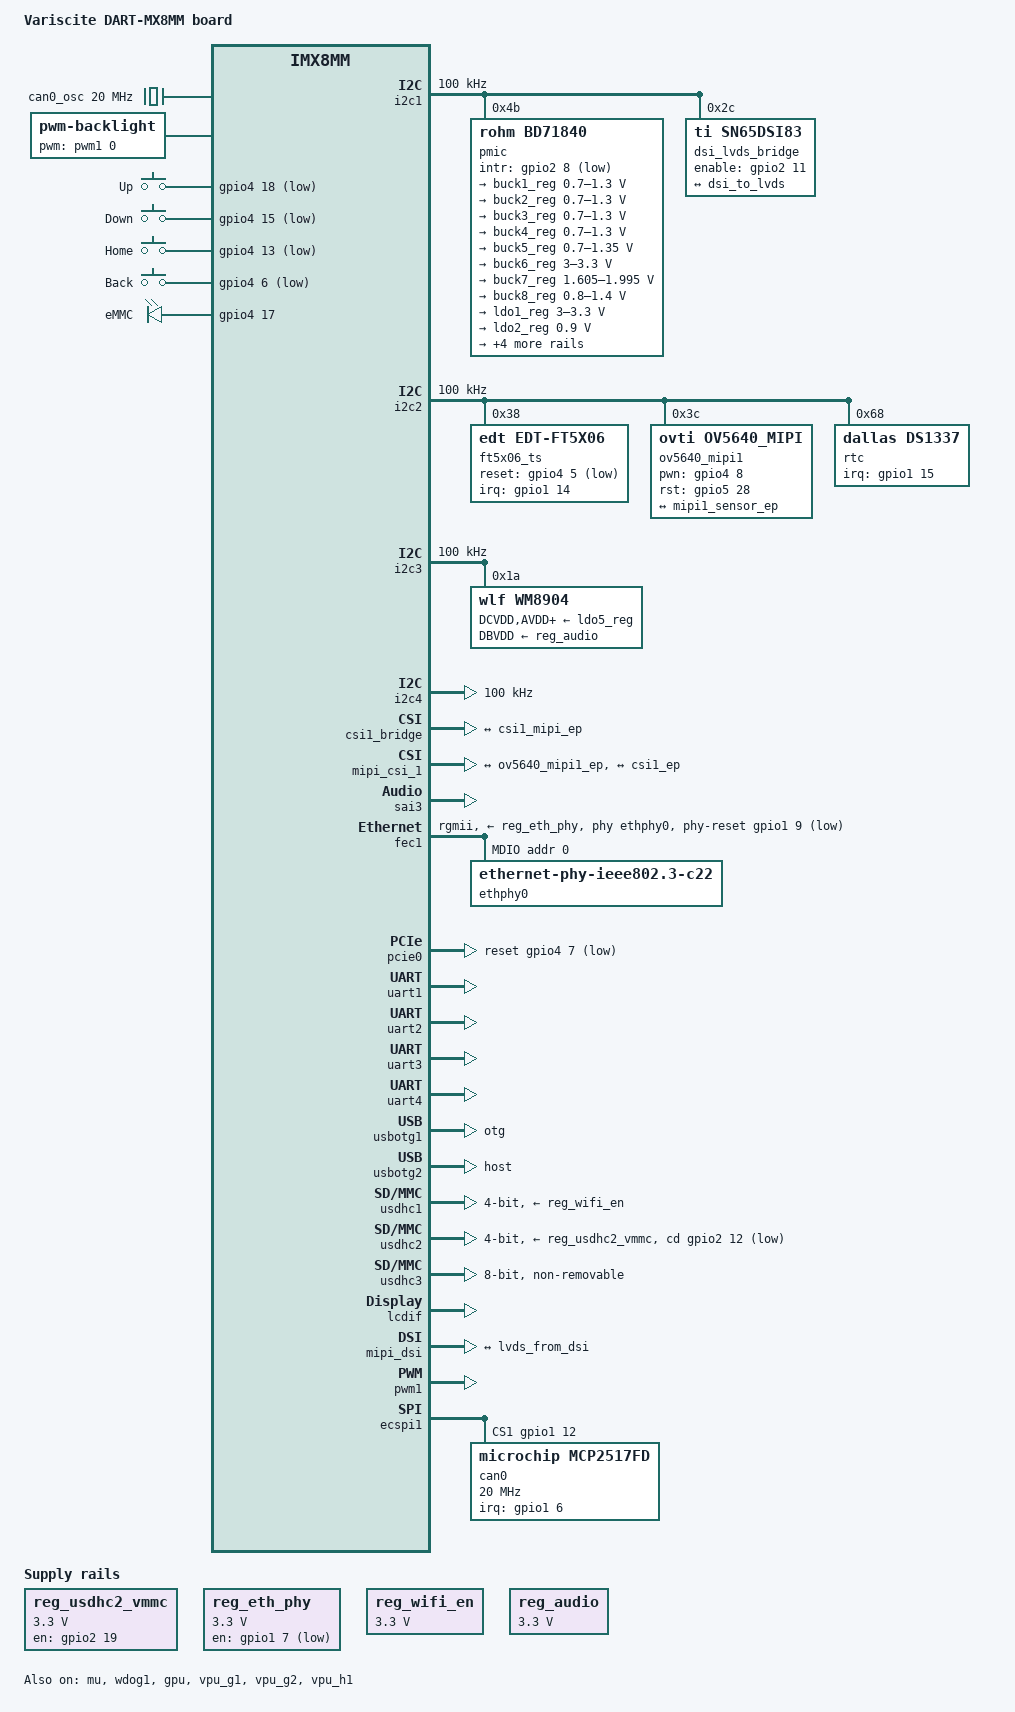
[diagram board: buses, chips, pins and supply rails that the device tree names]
/*
 * Copyright 2018 NXP
 * Copyright 2019 Variscite Ltd.
 *
 * This program is free software; you can redistribute it and/or
 * modify it under the terms of the GNU General Public License
 * as published by the Free Software Foundation; either version 2
 * of the License, or (at your option) any later version.
 *
 * This program is distributed in the hope that it will be useful,
 * but WITHOUT ANY WARRANTY; without even the implied warranty of
 * MERCHANTABILITY or FITNESS FOR A PARTICULAR PURPOSE.  See the
 * GNU General Public License for more details.
 */

/dts-v1/;

#include "fsl-imx8mm.dtsi"

/ {
	model = "Variscite DART-MX8MM board";
	compatible = "variscite,dart-mx8mm", "fsl,imx8mm";

	chosen {
		bootargs = "console=ttymxc0,115200 earlycon=ec_imx6q,0x30860000,115200";
		stdout-path = &uart1;
	};

	regulators {
		compatible = "simple-bus";
		#address-cells = <1>;
		#size-cells = <0>;

		reg_usdhc2_vmmc: regulator-usdhc2 {
			compatible = "regulator-fixed";
			regulator-name = "VSD_3V3";
			regulator-min-microvolt = <3300000>;
			regulator-max-microvolt = <3300000>;
			gpio = <&gpio2 19 GPIO_ACTIVE_HIGH>;
			off-on-delay = <20000>;
			enable-active-high;
		};

		reg_eth_phy: regulator-eth-phy {
			compatible = "regulator-fixed";
			regulator-name = "eth_phy_pwr";
			regulator-min-microvolt = <3300000>;
			regulator-max-microvolt = <3300000>;
			gpio = <&gpio1 7 GPIO_ACTIVE_HIGH>;
		};

		reg_wifi_en: wifi_en {
			compatible = "regulator-fixed";
			regulator-name = "WIFI_REG_ON";
			regulator-min-microvolt = <3300000>;
			regulator-max-microvolt = <3300000>;
		};

		reg_audio: audio_vdd {
			compatible = "regulator-fixed";
			regulator-name = "wm8904_supply";
			regulator-min-microvolt = <3300000>;
			regulator-max-microvolt = <3300000>;
			regulator-always-on;
		};
	};

	can0_osc: can0_osc {
		compatible = "fixed-clock";
		#clock-cells = <0>;
		clock-frequency = <20000000>;
	};

	reserved-memory {
		/* cma region is provided by kernel command line as cma=<size>M */
		/delete-node/ linux,cma;

		/delete-node/ rpmsg@0xb8000000;
		rpmsg_reserved: rpmsg@0x40000000 {
			no-map;
			reg = <0 0x40000000 0 0x400000>;
		};
	};

	sound-spdif {
		compatible = "fsl,imx-audio-spdif";
		model = "imx-spdif";
		spdif-controller = <&spdif1>;
		spdif-out;
		spdif-in;
		status = "disabled";
	};

	sound-micfil {
		compatible = "fsl,imx-audio-micfil";
		model = "imx-audio-micfil";
		cpu-dai = <&micfil>;
		status = "disabled";
	};

	sound-wm8904 {
		compatible = "fsl,imx-audio-wm8904";
		model = "imx-wm8904";
		audio-cpu = <&sai3>;
		audio-codec = <&wm8904>;
		audio-routing =
			"Headphone Jack", "HPOUTL",
			"Headphone Jack", "HPOUTR",
			"IN2L", "Line In Jack",
			"IN2R", "Line In Jack",
			"IN1L", "Mic Jack",
			"Playback", "CPU-Playback",
			"CPU-Capture", "Capture";
		status = "okay";
	};

	backlight: backlight {
		compatible = "pwm-backlight";
		pwms = <&pwm1 0 1000000 0>;
		brightness-levels = < 0  1  2  3  4  5  6  7  8  9
				     10 11 12 13 14 15 16 17 18 19
				     20 21 22 23 24 25 26 27 28 29
				     30 31 32 33 34 35 36 37 38 39
				     40 41 42 43 44 45 46 47 48 49
				     50 51 52 53 54 55 56 57 58 59
				     60 61 62 63 64 65 66 67 68 69
				     70 71 72 73 74 75 76 77 78 79
				     80 81 82 83 84 85 86 87 88 89
				     90 91 92 93 94 95 96 97 98 99
				    100>;
		default-brightness-level = <80>;
		status = "okay";
	};

	gpio-keys {
		compatible = "gpio-keys";
		pinctrl-names = "default";
		pinctrl-0 = <&pinctrl_gpio_keys>;

		up {
			label = "Up";
			gpios = <&gpio4 18 GPIO_ACTIVE_LOW>;
			linux,code = <KEY_UP>;
		};

		down {
			label = "Down";
			gpios = <&gpio4 15 GPIO_ACTIVE_LOW>;
			linux,code = <KEY_DOWN>;
		};

		home {
			label = "Home";
			gpios = <&gpio4 13 GPIO_ACTIVE_LOW>;
			linux,code = <KEY_HOME>;
		};

		back {
			label = "Back";
			gpios = <&gpio4 6 GPIO_ACTIVE_LOW>;
			linux,code = <KEY_BACK>;
		};
	};

	leds {
		compatible = "gpio-leds";
		pinctrl-names = "default";
		pinctrl-0 = <&pinctrl_leds>;

		emmc {
			label = "eMMC";
			gpios = <&gpio4 17 GPIO_ACTIVE_HIGH>;
			linux,default-trigger = "mmc2";
		};
	};

};

&clk {
	assigned-clocks = <&clk IMX8MM_AUDIO_PLL1>;
	assigned-clock-rates = <786432000>;
};

&iomuxc {
	pinctrl-names = "default";

	imx8mm-var-dart {

		pinctrl_csi1: csi1grp {
			fsl,pins = <
				MX8MM_IOMUXC_SAI1_RXD6_GPIO4_IO8		0x19
				MX8MM_IOMUXC_UART4_RXD_GPIO5_IO28		0x19
			>;
		};

		pinctrl_fec1: fec1grp {
			fsl,pins = <
				MX8MM_IOMUXC_ENET_MDC_ENET1_MDC			0x3
				MX8MM_IOMUXC_ENET_MDIO_ENET1_MDIO		0x3
				MX8MM_IOMUXC_ENET_TD3_ENET1_RGMII_TD3		0x1f
				MX8MM_IOMUXC_ENET_TD2_ENET1_RGMII_TD2		0x1f
				MX8MM_IOMUXC_ENET_TD1_ENET1_RGMII_TD1		0x1f
				MX8MM_IOMUXC_ENET_TD0_ENET1_RGMII_TD0		0x1f
				MX8MM_IOMUXC_ENET_RD3_ENET1_RGMII_RD3		0x91
				MX8MM_IOMUXC_ENET_RD2_ENET1_RGMII_RD2		0x91
				MX8MM_IOMUXC_ENET_RD1_ENET1_RGMII_RD1		0x91
				MX8MM_IOMUXC_ENET_RD0_ENET1_RGMII_RD0		0x91
				MX8MM_IOMUXC_ENET_TXC_ENET1_RGMII_TXC		0x1f
				MX8MM_IOMUXC_ENET_RXC_ENET1_RGMII_RXC		0x91
				MX8MM_IOMUXC_ENET_RX_CTL_ENET1_RGMII_RX_CTL	0x91
				MX8MM_IOMUXC_ENET_TX_CTL_ENET1_RGMII_TX_CTL	0x1f
				MX8MM_IOMUXC_GPIO1_IO09_GPIO1_IO9		0x19
				MX8MM_IOMUXC_GPIO1_IO07_GPIO1_IO7		0x41
			>;
		};

		pinctrl_flexspi0: flexspi0grp {
			fsl,pins = <
				MX8MM_IOMUXC_NAND_ALE_QSPI_A_SCLK		0x1c2
				MX8MM_IOMUXC_NAND_CE0_B_QSPI_A_SS0_B		0x82
				MX8MM_IOMUXC_NAND_DATA00_QSPI_A_DATA0		0x82
				MX8MM_IOMUXC_NAND_DATA01_QSPI_A_DATA1		0x82
				MX8MM_IOMUXC_NAND_DATA02_QSPI_A_DATA2		0x82
				MX8MM_IOMUXC_NAND_DATA03_QSPI_A_DATA3		0x82
			>;
		};

		pinctrl_i2c1: i2c1grp {
			fsl,pins = <
				MX8MM_IOMUXC_I2C1_SCL_I2C1_SCL			0x400001c3
				MX8MM_IOMUXC_I2C1_SDA_I2C1_SDA			0x400001c3
			>;
		};

		pinctrl_i2c2: i2c2grp {
			fsl,pins = <
				MX8MM_IOMUXC_I2C2_SCL_I2C2_SCL			0x400001c3
				MX8MM_IOMUXC_I2C2_SDA_I2C2_SDA			0x400001c3
			>;
		};

		pinctrl_i2c3: i2c3grp {
			fsl,pins = <
				MX8MM_IOMUXC_I2C3_SCL_I2C3_SCL			0x400001c3
				MX8MM_IOMUXC_I2C3_SDA_I2C3_SDA			0x400001c3
			>;
		};

		pinctrl_i2c4: i2c4grp {
			fsl,pins = <
				MX8MM_IOMUXC_I2C4_SCL_I2C4_SCL			0x400001c3
				MX8MM_IOMUXC_I2C4_SDA_I2C4_SDA			0x400001c3
			>;
		};

		pinctrl_pcie0: pcie0grp {
			fsl,pins = <
				MX8MM_IOMUXC_SAI1_RXD5_GPIO4_IO7		0x41
			>;
		};

		pinctrl_pmic: pmicirq {
			fsl,pins = <
				MX8MM_IOMUXC_SD1_DATA6_GPIO2_IO8		0x41
			>;
		};

		pinctrl_sai3: sai3grp {
			fsl,pins = <
				MX8MM_IOMUXC_SAI3_RXFS_SAI3_RX_SYNC		0xd6
				MX8MM_IOMUXC_SAI3_RXC_SAI3_RX_BCLK		0xd6
				MX8MM_IOMUXC_SAI3_RXD_SAI3_RX_DATA0		0xd6
				MX8MM_IOMUXC_SAI3_TXFS_SAI3_TX_SYNC		0xd6
				MX8MM_IOMUXC_SAI3_TXC_SAI3_TX_BCLK		0xd6
				MX8MM_IOMUXC_SAI3_TXD_SAI3_TX_DATA0		0xd6
				MX8MM_IOMUXC_SAI3_MCLK_SAI3_MCLK		0xd6
			>;
		};

		pinctrl_pdm: pdmgrp {
			fsl,pins = <
				MX8MM_IOMUXC_SAI5_MCLK_SAI5_MCLK		0xd6
				MX8MM_IOMUXC_SAI5_RXC_PDM_CLK			0xd6
				MX8MM_IOMUXC_SAI5_RXFS_SAI5_RX_SYNC		0xd6
				MX8MM_IOMUXC_SAI5_RXD0_PDM_DATA0		0xd6
				MX8MM_IOMUXC_SAI5_RXD1_PDM_DATA1		0xd6
				MX8MM_IOMUXC_SAI5_RXD2_PDM_DATA2		0xd6
				MX8MM_IOMUXC_SAI5_RXD3_PDM_DATA3		0xd6
			>;
		};

		pinctrl_spdif1: spdif1grp {
			fsl,pins = <
				MX8MM_IOMUXC_SPDIF_TX_SPDIF1_OUT		0xd6
				MX8MM_IOMUXC_SPDIF_RX_SPDIF1_IN			0xd6
			>;
		};

		pinctrl_uart1: uart1grp {
			fsl,pins = <
				MX8MM_IOMUXC_UART1_RXD_UART1_DCE_RX		0x140
				MX8MM_IOMUXC_UART1_TXD_UART1_DCE_TX		0x140
			>;
		};

		pinctrl_uart2: uart2grp {
			fsl,pins = <
				MX8MM_IOMUXC_UART2_RXD_UART2_DCE_RX		0x140
				MX8MM_IOMUXC_UART2_TXD_UART2_DCE_TX		0x140
			>;
		};

		pinctrl_uart3: uart3grp {
			fsl,pins = <
				MX8MM_IOMUXC_UART3_RXD_UART3_DCE_RX		0x140
				MX8MM_IOMUXC_UART3_TXD_UART3_DCE_TX		0x140
			>;
		};

		pinctrl_uart4: uart4grp {
			fsl,pins = <
				MX8MM_IOMUXC_ECSPI2_SCLK_UART4_DCE_RX		0x140
				MX8MM_IOMUXC_ECSPI2_MOSI_UART4_DCE_TX		0x140
				MX8MM_IOMUXC_ECSPI2_SS0_UART4_DCE_RTS_B		0x140
				MX8MM_IOMUXC_ECSPI2_MISO_UART4_DCE_CTS_B	0x140
			>;
		};

		pinctrl_usdhc1: usdhc1grp {
			fsl,pins = <
				MX8MM_IOMUXC_SD1_CLK_USDHC1_CLK			0x190
				MX8MM_IOMUXC_SD1_CMD_USDHC1_CMD			0x1d0
				MX8MM_IOMUXC_SD1_DATA0_USDHC1_DATA0		0x1d0
				MX8MM_IOMUXC_SD1_DATA1_USDHC1_DATA1		0x1d0
				MX8MM_IOMUXC_SD1_DATA2_USDHC1_DATA2		0x1d0
				MX8MM_IOMUXC_SD1_DATA3_USDHC1_DATA3		0x1d0
			>;
		};

		pinctrl_usdhc1_100mhz: usdhc1grp100mhz {
			fsl,pins = <
				MX8MM_IOMUXC_SD1_CLK_USDHC1_CLK			0x194
				MX8MM_IOMUXC_SD1_CMD_USDHC1_CMD			0x1d4
				MX8MM_IOMUXC_SD1_DATA0_USDHC1_DATA0		0x1d4
				MX8MM_IOMUXC_SD1_DATA1_USDHC1_DATA1		0x1d4
				MX8MM_IOMUXC_SD1_DATA2_USDHC1_DATA2		0x1d4
				MX8MM_IOMUXC_SD1_DATA3_USDHC1_DATA3		0x1d4
			>;
		};

		pinctrl_usdhc1_200mhz: usdhc1grp200mhz {
			fsl,pins = <
				MX8MM_IOMUXC_SD1_CLK_USDHC1_CLK			0x196
				MX8MM_IOMUXC_SD1_CMD_USDHC1_CMD			0x1d6
				MX8MM_IOMUXC_SD1_DATA0_USDHC1_DATA0		0x1d6
				MX8MM_IOMUXC_SD1_DATA1_USDHC1_DATA1		0x1d6
				MX8MM_IOMUXC_SD1_DATA2_USDHC1_DATA2		0x1d6
				MX8MM_IOMUXC_SD1_DATA3_USDHC1_DATA3		0x1d6
			>;
		};

		pinctrl_usdhc2_gpio: usdhc2grpgpio {
			fsl,pins = <
				MX8MM_IOMUXC_SD2_RESET_B_GPIO2_IO19		0xc1
				MX8MM_IOMUXC_SD2_CD_B_GPIO2_IO12		0xc1
			>;
		};

		pinctrl_usdhc2: usdhc2grp {
			fsl,pins = <
				MX8MM_IOMUXC_SD2_CLK_USDHC2_CLK			0x190
				MX8MM_IOMUXC_SD2_CMD_USDHC2_CMD			0x1d0
				MX8MM_IOMUXC_SD2_DATA0_USDHC2_DATA0		0x1d0
				MX8MM_IOMUXC_SD2_DATA1_USDHC2_DATA1		0x1d0
				MX8MM_IOMUXC_SD2_DATA2_USDHC2_DATA2		0x1d0
				MX8MM_IOMUXC_SD2_DATA3_USDHC2_DATA3		0x1d0
				MX8MM_IOMUXC_GPIO1_IO04_USDHC2_VSELECT		0x1d0
			>;
		};

		pinctrl_usdhc2_100mhz: usdhc2grp100mhz {
			fsl,pins = <
				MX8MM_IOMUXC_SD2_CLK_USDHC2_CLK			0x194
				MX8MM_IOMUXC_SD2_CMD_USDHC2_CMD			0x1d4
				MX8MM_IOMUXC_SD2_DATA0_USDHC2_DATA0		0x1d4
				MX8MM_IOMUXC_SD2_DATA1_USDHC2_DATA1		0x1d4
				MX8MM_IOMUXC_SD2_DATA2_USDHC2_DATA2		0x1d4
				MX8MM_IOMUXC_SD2_DATA3_USDHC2_DATA3		0x1d4
				MX8MM_IOMUXC_GPIO1_IO04_USDHC2_VSELECT		0x1d0
			>;
		};

		pinctrl_usdhc2_200mhz: usdhc2grp200mhz {
			fsl,pins = <
				MX8MM_IOMUXC_SD2_CLK_USDHC2_CLK			0x196
				MX8MM_IOMUXC_SD2_CMD_USDHC2_CMD			0x1d6
				MX8MM_IOMUXC_SD2_DATA0_USDHC2_DATA0		0x1d6
				MX8MM_IOMUXC_SD2_DATA1_USDHC2_DATA1		0x1d6
				MX8MM_IOMUXC_SD2_DATA2_USDHC2_DATA2		0x1d6
				MX8MM_IOMUXC_SD2_DATA3_USDHC2_DATA3		0x1d6
				MX8MM_IOMUXC_GPIO1_IO04_USDHC2_VSELECT		0x1d0
			>;
		};

		pinctrl_usdhc3: usdhc3grp {
			fsl,pins = <
				MX8MM_IOMUXC_NAND_WE_B_USDHC3_CLK		0x190
				MX8MM_IOMUXC_NAND_WP_B_USDHC3_CMD		0x1d0
				MX8MM_IOMUXC_NAND_DATA04_USDHC3_DATA0		0x1d0
				MX8MM_IOMUXC_NAND_DATA05_USDHC3_DATA1		0x1d0
				MX8MM_IOMUXC_NAND_DATA06_USDHC3_DATA2		0x1d0
				MX8MM_IOMUXC_NAND_DATA07_USDHC3_DATA3		0x1d0
				MX8MM_IOMUXC_NAND_RE_B_USDHC3_DATA4		0x1d0
				MX8MM_IOMUXC_NAND_CE2_B_USDHC3_DATA5		0x1d0
				MX8MM_IOMUXC_NAND_CE3_B_USDHC3_DATA6		0x1d0
				MX8MM_IOMUXC_NAND_CLE_USDHC3_DATA7		0x1d0
				MX8MM_IOMUXC_NAND_CE1_B_USDHC3_STROBE 		0x190
			>;
		};

		pinctrl_usdhc3_100mhz: usdhc3grp100mhz {
			fsl,pins = <
				MX8MM_IOMUXC_NAND_WE_B_USDHC3_CLK		0x194
				MX8MM_IOMUXC_NAND_WP_B_USDHC3_CMD		0x1d4
				MX8MM_IOMUXC_NAND_DATA04_USDHC3_DATA0		0x1d4
				MX8MM_IOMUXC_NAND_DATA05_USDHC3_DATA1		0x1d4
				MX8MM_IOMUXC_NAND_DATA06_USDHC3_DATA2		0x1d4
				MX8MM_IOMUXC_NAND_DATA07_USDHC3_DATA3		0x1d4
				MX8MM_IOMUXC_NAND_RE_B_USDHC3_DATA4		0x1d4
				MX8MM_IOMUXC_NAND_CE2_B_USDHC3_DATA5		0x1d4
				MX8MM_IOMUXC_NAND_CE3_B_USDHC3_DATA6		0x1d4
				MX8MM_IOMUXC_NAND_CLE_USDHC3_DATA7		0x1d4
				MX8MM_IOMUXC_NAND_CE1_B_USDHC3_STROBE 		0x194
			>;
		};

		pinctrl_usdhc3_200mhz: usdhc3grp200mhz {
			fsl,pins = <
				MX8MM_IOMUXC_NAND_WE_B_USDHC3_CLK		0x196
				MX8MM_IOMUXC_NAND_WP_B_USDHC3_CMD		0x1d6
				MX8MM_IOMUXC_NAND_DATA04_USDHC3_DATA0		0x1d6
				MX8MM_IOMUXC_NAND_DATA05_USDHC3_DATA1		0x1d6
				MX8MM_IOMUXC_NAND_DATA06_USDHC3_DATA2		0x1d6
				MX8MM_IOMUXC_NAND_DATA07_USDHC3_DATA3		0x1d6
				MX8MM_IOMUXC_NAND_RE_B_USDHC3_DATA4		0x1d6
				MX8MM_IOMUXC_NAND_CE2_B_USDHC3_DATA5		0x1d6
				MX8MM_IOMUXC_NAND_CE3_B_USDHC3_DATA6		0x1d6
				MX8MM_IOMUXC_NAND_CLE_USDHC3_DATA7		0x1d6
				MX8MM_IOMUXC_NAND_CE1_B_USDHC3_STROBE 		0x196
			>;
		};

		pinctrl_wdog: wdoggrp {
			fsl,pins = <
				MX8MM_IOMUXC_GPIO1_IO02_WDOG1_WDOG_B		0xc6
			>;
		};

		pinctrl_wifi: wifigrp {
			fsl,pins = <
				MX8MM_IOMUXC_SD1_DATA5_GPIO2_IO7		0xc1	/* WIFI_3V3_PWR_EN */
				MX8MM_IOMUXC_SD2_WP_GPIO2_IO20			0x140	/* WIFI_1V8_PWR_EN */
				MX8MM_IOMUXC_SD1_RESET_B_GPIO2_IO10		0xc1	/* WIFI_REG_ON     */
				MX8MM_IOMUXC_SD1_DATA4_GPIO2_IO6		0xc1	/* BT_REG_ON       */
				MX8MM_IOMUXC_SPDIF_EXT_CLK_GPIO5_IO5		0xc1	/* BT_BUF_EN       */
			>;
		};

		pinctrl_typec: typecgrp {
			fsl,pins = <
				MX8MM_IOMUXC_GPIO1_IO10_GPIO1_IO10		0x16
			>;
		};

		pinctrl_rtc: rtcgrp {
			fsl,pins = <
				MX8MM_IOMUXC_GPIO1_IO15_GPIO1_IO15		0x1c1
			>;
		};

		pinctrl_lvds: lvdsgrp {
			fsl,pins = <
				MX8MM_IOMUXC_SD1_STROBE_GPIO2_IO11		0x16
			>;
		};

		pinctrl_pwm1: pwm1grp {
			fsl,pins = <
				MX8MM_IOMUXC_GPIO1_IO01_PWM1_OUT		0x06
			>;
		};

		pinctrl_captouch: captouchgrp {
			fsl,pins = <
				MX8MM_IOMUXC_SAI1_RXD3_GPIO4_IO5		0x16
				MX8MM_IOMUXC_GPIO1_IO14_GPIO1_IO14		0x16
			>;
		};

		pinctrl_ecspi1: ecspi1grp {
			fsl,pins = <
				MX8MM_IOMUXC_ECSPI1_SCLK_ECSPI1_SCLK		0x13
				MX8MM_IOMUXC_ECSPI1_MOSI_ECSPI1_MOSI		0x13
				MX8MM_IOMUXC_ECSPI1_MISO_ECSPI1_MISO		0x13
				MX8MM_IOMUXC_ECSPI1_SS0_GPIO5_IO9		0x13
				MX8MM_IOMUXC_GPIO1_IO12_GPIO1_IO12		0x13
			>;
		};

		pinctrl_can: cangrp {
			fsl,pins = <
				MX8MM_IOMUXC_GPIO1_IO06_GPIO1_IO6		0x16
			>;
		};

		pinctrl_restouch: restouchgrp {
			fsl,pins = <
				MX8MM_IOMUXC_GPIO1_IO03_GPIO1_IO3		0x1c0
			>;
		};

		pinctrl_gpio_keys: keygrp {
			fsl,pins = <
				MX8MM_IOMUXC_SAI1_TXD3_GPIO4_IO15		0x1c6
				MX8MM_IOMUXC_SAI1_TXD6_GPIO4_IO18		0x1c6
				MX8MM_IOMUXC_SAI1_TXD1_GPIO4_IO13		0x1c6
				MX8MM_IOMUXC_SAI1_RXD4_GPIO4_IO6		0x1c6
			>;
		};

		pinctrl_leds: ledgrp {
			fsl,pins = <
				MX8MM_IOMUXC_SAI1_RXD1_GPIO4_IO3		0x1c6
				MX8MM_IOMUXC_SAI1_TXD2_GPIO4_IO14		0x1c6
				MX8MM_IOMUXC_SAI1_RXD2_GPIO4_IO4		0x1c6
				MX8MM_IOMUXC_SAI1_TXD5_GPIO4_IO17		0x1c6
			>;
		};
	};
};

&i2c1 {
	clock-frequency = <100000>;
	pinctrl-names = "default";
	pinctrl-0 = <&pinctrl_i2c1>;
	status = "okay";

	pmic: bd71837@4b {
		reg = <0x4b>;
		compatible = "rohm,bd71840", "rohm,bd71837";
		pinctrl-0 = <&pinctrl_pmic>;
		gpio_intr = <&gpio2 8 GPIO_ACTIVE_LOW>;

		gpo {
			rohm,drv = <0x0C>;	/* 0b0000_1100 all gpos with cmos output mode */
		};

		regulators {
			#address-cells = <1>;
			#size-cells = <0>;

			bd71837,pmic-buck2-uses-i2c-dvs;
			bd71837,pmic-buck2-dvs-voltage = <1000000>, <900000>, <0>; /* VDD_ARM: Run-Idle */

			buck1_reg: regulator@0 {
				reg = <0>;
				regulator-compatible = "buck1";
				regulator-min-microvolt = <700000>;
				regulator-max-microvolt = <1300000>;
				regulator-boot-on;
				regulator-always-on;
				regulator-ramp-delay = <1250>;
			};

			buck2_reg: regulator@1 {
				reg = <1>;
				regulator-compatible = "buck2";
				regulator-min-microvolt = <700000>;
				regulator-max-microvolt = <1300000>;
				regulator-boot-on;
				regulator-always-on;
				regulator-ramp-delay = <1250>;
			};

			buck3_reg: regulator@2 {
				reg = <2>;
				regulator-compatible = "buck3";
				regulator-min-microvolt = <700000>;
				regulator-max-microvolt = <1300000>;
			};

			buck4_reg: regulator@3 {
				reg = <3>;
				regulator-compatible = "buck4";
				regulator-min-microvolt = <700000>;
				regulator-max-microvolt = <1300000>;
			};

			buck5_reg: regulator@4 {
				reg = <4>;
				regulator-compatible = "buck5";
				regulator-min-microvolt = <700000>;
				regulator-max-microvolt = <1350000>;
				regulator-boot-on;
				regulator-always-on;
			};

			buck6_reg: regulator@5 {
				reg = <5>;
				regulator-compatible = "buck6";
				regulator-min-microvolt = <3000000>;
				regulator-max-microvolt = <3300000>;
				regulator-boot-on;
				regulator-always-on;
			};

			buck7_reg: regulator@6 {
				reg = <6>;
				regulator-compatible = "buck7";
				regulator-min-microvolt = <1605000>;
				regulator-max-microvolt = <1995000>;
				regulator-boot-on;
				regulator-always-on;
			};

			buck8_reg: regulator@7 {
				reg = <7>;
				regulator-compatible = "buck8";
				regulator-min-microvolt = <800000>;
				regulator-max-microvolt = <1400000>;
				regulator-boot-on;
				regulator-always-on;
			};

			ldo1_reg: regulator@8 {
				reg = <8>;
				regulator-compatible = "ldo1";
				regulator-min-microvolt = <3000000>;
				regulator-max-microvolt = <3300000>;
				regulator-boot-on;
				regulator-always-on;
			};

			ldo2_reg: regulator@9 {
				reg = <9>;
				regulator-compatible = "ldo2";
				regulator-min-microvolt = <900000>;
				regulator-max-microvolt = <900000>;
				regulator-boot-on;
				regulator-always-on;
			};

			ldo3_reg: regulator@10 {
				reg = <10>;
				regulator-compatible = "ldo3";
				regulator-min-microvolt = <1800000>;
				regulator-max-microvolt = <3300000>;
				regulator-boot-on;
				regulator-always-on;
			};

			ldo4_reg: regulator@11 {
				reg = <11>;
				regulator-compatible = "ldo4";
				regulator-min-microvolt = <900000>;
				regulator-max-microvolt = <1800000>;
				regulator-boot-on;
				regulator-always-on;
			};

			ldo5_reg: regulator@12 {
				reg = <12>;
				regulator-compatible = "ldo5";
				regulator-min-microvolt = <1800000>;
				regulator-max-microvolt = <1800000>;
				regulator-always-on;
			};

			ldo6_reg: regulator@13 {
				reg = <13>;
				regulator-compatible = "ldo6";
				regulator-min-microvolt = <900000>;
				regulator-max-microvolt = <1800000>;
				regulator-boot-on;
				regulator-always-on;
			};
		};
	};

	dsi_lvds_bridge: sn65dsi84@2c {
		compatible = "ti,sn65dsi83";
		reg = <0x2c>;
		ti,dsi-lanes = <1>;
		ti,lvds-format = <1>;
		ti,lvds-bpp = <24>;
		ti,width-mm = <154>;
		ti,height-mm = <87>;
		enable-gpios = <&gpio2 11 GPIO_ACTIVE_HIGH>;
		pinctrl-names = "default";
		pinctrl-0 = <&pinctrl_lvds>;
		status = "okay";

		display-timings {
			lvds {
				clock-frequency = <33000000>;
				hactive = <800>;
				vactive = <480>;
				hback-porch = <40>;
				hfront-porch = <40>;
				vback-porch = <29>;
				vfront-porch = <13>;
				hsync-len = <48>;
				vsync-len = <3>;
				hsync-active = <0>;
				vsync-active = <0>;
				de-active = <1>;
				pixelclk-active = <0>;
			};
		};

		port {
			lvds_from_dsi: endpoint {
				remote-endpoint = <&dsi_to_lvds>;
			};
		};
	};
};

&i2c2 {
	clock-frequency = <100000>;
	pinctrl-names = "default";
	pinctrl-0 = <&pinctrl_i2c2>;
	status = "okay";

	/* Capacitive touch controller */
	ft5x06_ts: ft5x06_ts@38 {
		status = "okay";
		compatible = "edt,edt-ft5x06";
		reg = <0x38>;
		reset-gpios = <&gpio4 5 GPIO_ACTIVE_LOW>;
		pinctrl-names = "default";
		pinctrl-0 = <&pinctrl_captouch>;
		interrupt-parent = <&gpio1>;
		interrupts = <14 0>;
		touchscreen-size-x = <800>;
		touchscreen-size-y = <480>;
		touchscreen-inverted-x;
		touchscreen-inverted-y;
	};

	ov5640_mipi1: ov5640_mipi1@3c {
		status = "okay";
		compatible = "ovti,ov5640_mipi";
		reg = <0x3c>;
		pinctrl-names = "default";
		pinctrl-0 = <&pinctrl_csi1>;
		clocks = <&clk IMX8MM_CLK_CLKO1_DIV>;
		clock-names = "csi_mclk";
/* Disabled CLKO2, since DART-MX8MM camera expansion board uses
 * its own oscillator. Enable CLK02 if your desing requres it
 */
#if 0
		assigned-clocks = <&clk IMX8MM_CLK_CLKO1_SRC>,
				  <&clk IMX8MM_CLK_CLKO1_DIV>;
		assigned-clock-parents = <&clk IMX8MM_CLK_24M>;
		assigned-clock-rates = <0>, <24000000>;
#endif
		csi_id = <0>;
		pwn-gpios = <&gpio4 8 GPIO_ACTIVE_HIGH>;
		rst-gpios = <&gpio5 28 GPIO_ACTIVE_HIGH>;
		mclk = <24000000>;
		mclk_source = <0>;
		port {
			ov5640_mipi1_ep: endpoint {
				remote-endpoint = <&mipi1_sensor_ep>;
			};
		};
	};

	/* DS1337 RTC module */
	rtc@0x68 {
		status = "okay";
		compatible = "dallas,ds1337";
		reg = <0x68>;
		pinctrl-names = "default";
		pinctrl-0 = <&pinctrl_rtc>;
		interrupt-parent = <&gpio1>;
		interrupts = <15 IRQ_TYPE_EDGE_FALLING>;
	};
};


&i2c3 {
	clock-frequency = <100000>;
	pinctrl-names = "default";
	pinctrl-0 = <&pinctrl_i2c3>;
	status = "okay";

	wm8904: codec@1a {
		compatible = "wlf,wm8904";
		reg = <0x1a>;
		clocks = <&clk IMX8MM_CLK_SAI3_ROOT>;
		clock-names = "mclk";
		DCVDD-supply = <&ldo5_reg>;
		DBVDD-supply = <&reg_audio>;
		AVDD-supply = <&ldo5_reg>;
		CPVDD-supply = <&ldo5_reg>;
		MICVDD-supply = <&ldo5_reg>;
		status = "okay";
		gpio-cfg = <
			0x0018 /* GPIO1 => DMIC_CLK */
			0xffff /* GPIO2 => don't touch */
			0xffff /* GPIO3 => don't touch */
			0xffff /* GPIO4 => don't touch */
		>;
	};
};

&i2c4 {
	clock-frequency = <100000>;
	pinctrl-names = "default";
	pinctrl-0 = <&pinctrl_i2c4>;
	status = "okay";
};

&csi1_bridge {
	fsl,mipi-mode;
	status = "okay";
	port {
		csi1_ep: endpoint {
			remote-endpoint = <&csi1_mipi_ep>;
		};
	};
};

&mipi_csi_1 {
	#address-cells = <1>;
	#size-cells = <0>;
	status = "okay";
	port {
		mipi1_sensor_ep: endpoint1 {
			remote-endpoint = <&ov5640_mipi1_ep>;
			data-lanes = <2>;
			csis-hs-settle = <13>;
			csis-clk-settle = <2>;
			csis-wclk;
		};

		csi1_mipi_ep: endpoint2 {
			remote-endpoint = <&csi1_ep>;
		};
	};
};

&mu {
	status = "okay";
};

&sai3 {
	pinctrl-names = "default";
	pinctrl-0 = <&pinctrl_sai3>;
	assigned-clocks = <&clk IMX8MM_CLK_SAI3_SRC>,
			<&clk IMX8MM_CLK_SAI3_DIV>;
	assigned-clock-parents = <&clk IMX8MM_AUDIO_PLL1_OUT>;
	assigned-clock-rates = <0>, <1536000>;
	status = "okay";
};

&spdif1 {
	pinctrl-names = "default";
	pinctrl-0 = <&pinctrl_spdif1>;
	assigned-clocks = <&clk IMX8MM_CLK_SPDIF1_SRC>,
			<&clk IMX8MM_CLK_SPDIF1_DIV>;
	assigned-clock-parents = <&clk IMX8MM_AUDIO_PLL1_OUT>;
	assigned-clock-rates = <0>, <24576000>;
	clocks = <&clk IMX8MM_CLK_AUDIO_AHB_DIV>, <&clk IMX8MM_CLK_24M>,
		<&clk IMX8MM_CLK_SPDIF1_DIV>, <&clk IMX8MM_CLK_DUMMY>,
		<&clk IMX8MM_CLK_DUMMY>, <&clk IMX8MM_CLK_DUMMY>,
		<&clk IMX8MM_CLK_AUDIO_AHB_DIV>, <&clk IMX8MM_CLK_DUMMY>,
		<&clk IMX8MM_CLK_DUMMY>, <&clk IMX8MM_CLK_DUMMY>,
		<&clk IMX8MM_AUDIO_PLL1_OUT>, <&clk IMX8MM_AUDIO_PLL2_OUT>;
	clock-names = "core", "rxtx0", "rxtx1", "rxtx2", "rxtx3",
		"rxtx4", "rxtx5", "rxtx6", "rxtx7", "spba", "pll8k", "pll11k";
	status = "disabled";
};

&fec1 {
	pinctrl-names = "default";
	pinctrl-0 = <&pinctrl_fec1>;
	phy-mode = "rgmii";
	phy-handle = <&ethphy0>;
	phy-supply = <&reg_eth_phy>;
	phy-reset-gpios = <&gpio1 9 GPIO_ACTIVE_LOW>;
	phy-reset-duration = <10>;
	fsl,magic-packet;
	status = "okay";

	mdio {
		#address-cells = <1>;
		#size-cells = <0>;

		ethphy0: ethernet-phy@0 {
			compatible = "ethernet-phy-ieee802.3-c22";
			reg = <0>;
			at803x,led-act-blind-workaround;
			at803x,eee-okay;
			at803x,vddio-1p8v;
		};
	};
};

&pcie0 {
	pinctrl-names = "default";
	pinctrl-0 = <&pinctrl_pcie0>;
	reset-gpio = <&gpio4 7 GPIO_ACTIVE_LOW>;
	ext_osc = <1>;
	status = "okay";
};

/* Console */
&uart1 {
	pinctrl-names = "default";
	pinctrl-0 = <&pinctrl_uart1>;
	status = "okay";
};

/* Header */
&uart2 {
	pinctrl-names = "default";
	pinctrl-0 = <&pinctrl_uart2>;
	status = "okay";
};

/* Header */
&uart3 {
	pinctrl-names = "default";
	pinctrl-0 = <&pinctrl_uart3>;
	status = "okay";
};

/* BT */
&uart4 {
	pinctrl-names = "default";
	pinctrl-0 = <&pinctrl_uart4>;
	assigned-clocks = <&clk IMX8MM_CLK_UART4_SRC>;
	assigned-clock-parents = <&clk IMX8MM_SYS_PLL1_80M>;
	uart-has-rtscts;
	status = "okay";
};

&usbotg1 {
	dr_mode = "otg";
	picophy,pre-emp-curr-control = <3>;
	picophy,dc-vol-level-adjust = <7>;
	status = "okay";
};

&usbotg2 {
	dr_mode = "host";
	picophy,pre-emp-curr-control = <3>;
	picophy,dc-vol-level-adjust = <7>;
	status = "okay";
};

/* WIFI */
&usdhc1 {
	pinctrl-names = "default", "state_100mhz", "state_200mhz";
	pinctrl-0 = <&pinctrl_usdhc1>;
	pinctrl-1 = <&pinctrl_usdhc1_100mhz>;
	pinctrl-2 = <&pinctrl_usdhc1_200mhz>;
	bus-width = <4>;
	vmmc-supply = <&reg_wifi_en>;
	status = "okay";
};

/* SD */
&usdhc2 {
	pinctrl-names = "default", "state_100mhz", "state_200mhz";
	pinctrl-0 = <&pinctrl_usdhc2>, <&pinctrl_usdhc2_gpio>;
	pinctrl-1 = <&pinctrl_usdhc2_100mhz>, <&pinctrl_usdhc2_gpio>;
	pinctrl-2 = <&pinctrl_usdhc2_200mhz>, <&pinctrl_usdhc2_gpio>;
	cd-gpios = <&gpio2 12 GPIO_ACTIVE_LOW>;
	bus-width = <4>;
	vmmc-supply = <&reg_usdhc2_vmmc>;
	status = "okay";
};

/* EMMC */
&usdhc3 {
	pinctrl-names = "default", "state_100mhz", "state_200mhz";
	pinctrl-0 = <&pinctrl_usdhc3>;
	pinctrl-1 = <&pinctrl_usdhc3_100mhz>;
	pinctrl-2 = <&pinctrl_usdhc3_200mhz>;
	bus-width = <8>;
	non-removable;
	status = "okay";
};

&wdog1 {
	pinctrl-names = "default";
	pinctrl-0 = <&pinctrl_wdog>;
	fsl,ext-reset-output;
	status = "okay";
};

&A53_0 {
	arm-supply = <&buck2_reg>;
};

&gpu {
	status = "okay";
};

&vpu_g1 {
	status = "okay";
};

&vpu_g2 {
	status = "okay";
};

&vpu_h1 {
	status = "okay";
};

&micfil {
	pinctrl-names = "default";
	pinctrl-0 = <&pinctrl_pdm>;
	assigned-clocks = <&clk IMX8MM_CLK_PDM_SRC>, <&clk IMX8MM_CLK_PDM_DIV>;
	assigned-clock-parents = <&clk IMX8MM_AUDIO_PLL1_OUT>;
	assigned-clock-rates = <0>, <196608000>;
	status = "disabled";
};

&lcdif {
	status = "okay";
};

&mipi_dsi {
	status = "okay";

	port@1 {
		dsi_to_lvds: endpoint {
			remote-endpoint = <&lvds_from_dsi>;
		};
	};
};

&pwm1 {
	status = "okay";
	pinctrl-names = "default";
	pinctrl-0 = <&pinctrl_pwm1>;
};

&ecspi1 {
	pinctrl-names = "default";
	pinctrl-0 = <&pinctrl_ecspi1>;
	cs-gpios = <&gpio5  9 GPIO_ACTIVE_HIGH>,
		   <&gpio1 12 GPIO_ACTIVE_HIGH>;
	fsl,spi-num-chipselects = <2>;
	/delete-property/ dmas;
	/delete-property/ dma-names;
	status = "okay";

	/* Resistive touch controller */
	ads7846@0 {
		reg = <0>;
		compatible = "ti,ads7846";
		pinctrl-names = "default";
		pinctrl-0 = <&pinctrl_restouch>;
		interrupt-parent = <&gpio1>;
		interrupts = <3 IRQ_TYPE_EDGE_FALLING>;
		spi-max-frequency = <1500000>;
		pendown-gpio = <&gpio1 3 GPIO_ACTIVE_LOW>;
		ti,x-min = /bits/ 16 <125>;
		ti,x-max = /bits/ 16 <4008>;
		ti,y-min = /bits/ 16 <282>;
		ti,y-max = /bits/ 16 <3864>;
		ti,x-plate-ohms = /bits/ 16 <180>;
		ti,pressure-max = /bits/ 16 <255>;
		ti,debounce-max = /bits/ 16 <10>;
		ti,debounce-tol = /bits/ 16 <3>;
		ti,debounce-rep = /bits/ 16 <1>;
		ti,settle-delay-usec = /bits/ 16 <150>;
		ti,keep-vref-on;
		wakeup-source;
		status = "disabled";
	};

	can0: can@1 {
		compatible = "microchip,mcp2517fd";
		reg = <1>;
		pinctrl-names = "default";
		pinctrl-0 = <&pinctrl_can>;
		clocks = <&can0_osc>;
		interrupt-parent = <&gpio1>;
		interrupts = <6 IRQ_TYPE_EDGE_FALLING>;
		spi-max-frequency = <20000000>;
		status = "okay";
	};
};

&flexspi {
	pinctrl-names = "default";
	pinctrl-0 = <&pinctrl_flexspi0>;
	status = "disabled";
};

&snvs_rtc {
	status = "disabled";
};
